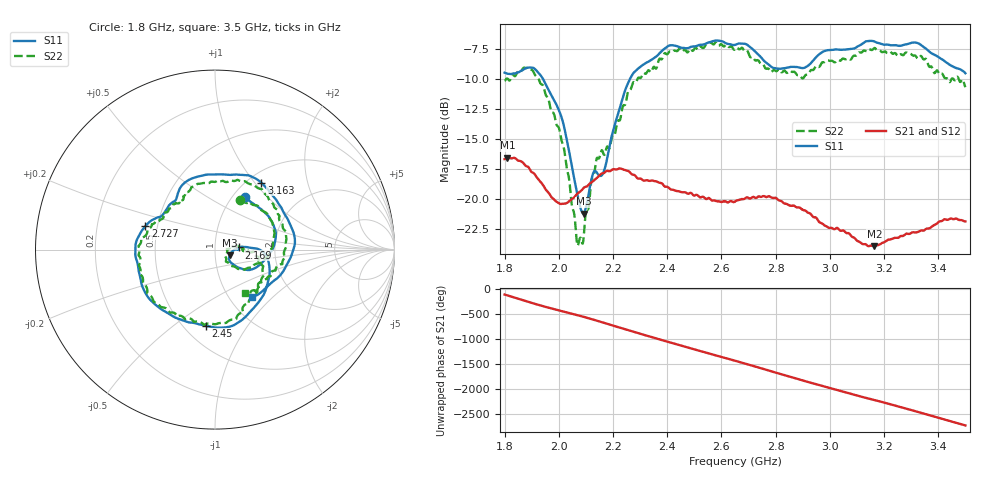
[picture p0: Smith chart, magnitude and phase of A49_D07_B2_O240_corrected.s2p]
! Created with skrf 1.9.0 (http://scikit-rf.org).
# Hz S RI R 50.0
!freq ReS11 ImS11 ReS21 ImS21 ReS12 ImS12 ReS22 ImS22
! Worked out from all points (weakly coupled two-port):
!   1601 points, 1.8 GHz to 3.5 GHz, reference 50 ohm
!   highest |S21| = -16.55 dB at 1.811 GHz (marker M1); lowest = -23.9 dB at 3.164 GHz (marker M2)
!   lowest |S11| = -21.2 dB at 2.091 GHz (marker M3), VSWR 1.19, Z = 58.7 - j3.74 ohm
!   |S11| at or under -10 dB: 1.942 GHz to 2.262 GHz (320.3 MHz wide, 15.2 % of centre)
!   |S22| runs from -23.9 to -7.0 dB; largest |S21 - S12| = 0.0027
!   S11 on the Smith chart (normalised r, x): 1.8 GHz: 1.13, +0.75; 2.169 GHz: 1.31, +0.03; 2.45 GHz: 0.64, -0.66; 2.727 GHz: 0.43, +0.13; 3.163 GHz: 1.15, +1.08; 3.5 GHz: 1.28, -0.75
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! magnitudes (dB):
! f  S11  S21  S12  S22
! 1.8 GHz  -9.5  -16.7  -16.7  -10.1
! 1.811 GHz  -9.6  -16.6  -16.6  -10.0
! 1.886 GHz  -9.1  -17.3  -17.4  -9.0
! 1.942 GHz  -10.0  -18.8  -18.8  -10.6
! 2.013 GHz  -13.4  -20.4  -20.4  -15.3
! 2.067 GHz  -19.4  -19.6  -19.6  -23.6
! 2.084 GHz  -21.0  -19.3  -19.2  -23.4
! 2.091 GHz  -21.2  -19.1  -19.1  -23.3
! 2.136 GHz  -17.7  -18.3  -18.3  -17.1
! 2.169 GHz  -17.5  -17.8  -17.8  -16.3
! 2.259 GHz  -10.2  -17.7  -17.7  -10.9
! 2.367 GHz  -8.0  -18.6  -18.5  -8.5
! 2.45 GHz  -7.4  -19.4  -19.4  -7.6
! 2.65 GHz  -7.2  -20.2  -20.2  -7.5
! 2.727 GHz  -7.8  -19.9  -19.9  -8.5
! 2.799 GHz  -9.1  -19.9  -19.9  -9.3
! 2.934 GHz  -8.6  -21.3  -21.3  -9.2
! 3.163 GHz  -6.9  -23.9  -23.9  -7.4
! 3.164 GHz  -6.9  -23.9  -23.9  -7.4
! 3.217 GHz  -7.2  -23.4  -23.3  -7.7
! 3.324 GHz  -7.0  -22.7  -22.7  -8.3
! 3.5 GHz  -9.5  -21.8  -21.8  -10.7
